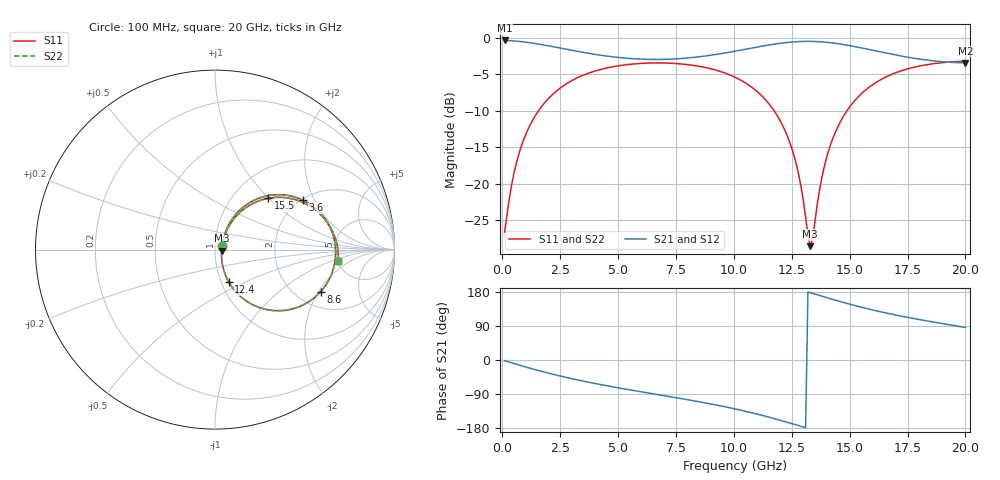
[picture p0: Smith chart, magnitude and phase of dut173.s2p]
! Touchstone file exported from HFSS 2026.1.0
!  File:  C:/ffzhzh/LocalFiles/Ansys_Project_Files/temp_train_TSV_RDL_173_1783055731_36532.aedt
!  Generated:  01:28:32 PM Jul  3, 2026
!  Design:  TSV_RDL
!  Project:  temp_train_TSV_RDL_173_1783055731_36532
! Variables:
!  h_bsmrdl = 2.24um
!  h_ox = 20um
!  h_rdl = 5um
!  h_sub = 97.19um
!  h_tmrdl = 4.52um
!  h_tsv = 97.19um
!  h_via = 3um
!  l_bsmrdl = 940.68um
!  l_sub = 4434.26um
!  l_tmrdl = 273.64um
!  m_sub = 200um
!  pitch = 56.58um
!  r_tsv = 5.79um
!  s_tmrdl = 10um
!  w_bsmrdl = 12.11um
!  w_sub = 500um
!  w_tmrdl = 27.11um
!  x_tsv_center1 = 287.195um
!  x_tsv_center2 = 1239.985um
!  x_tsv_center3 = 1540.735um
!  x_tsv_center4 = 2493.525um
!  x_tsv_center5 = 2794.275um
!  x_tsv_center6 = 3747.065um
# GHz S MA R 50.000000
! Terminal data exported
! Port[1] = TM_RDL1_1_T1
! Port[2] = TM_RDL5_1_T1
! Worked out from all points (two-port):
!   200 points, 100 MHz to 20 GHz, reference 50 ohm
!   highest |S21| = -0.36 dB at 100 MHz (marker M1); lowest = -3.4 dB at 20 GHz (marker M2)
!   |S21| within 3 dB of the highest: start of sweep to 19.38 GHz
!   lowest |S11| = -28.5 dB at 13.3 GHz (marker M3), VSWR 1.08, Z = 53.8 - j0.596 ohm
!   |S11| at or under -10 dB: start of sweep to 1.566 GHz; 11.74 GHz to 14.89 GHz (3.148 GHz wide, 23.6 % of centre)
!   |S22| runs from -28.5 to -3.2 dB; largest |S21 - S12| = 1.6e-14
!   S11 on the Smith chart (normalised r, x): 100 MHz: 1.09, +0.05; 3.6 GHz: 2.05, +1.64; 8.6 GHz: 2.66, -2.09; 12.4 GHz: 1.09, -0.41; 15.5 GHz: 1.44, +0.99; 20 GHz: 5.15, -1.21
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0.1  0.0466 27.0  0.9589 -1.9  0.9589 -1.9  0.0466 27.0
! Gamma 0 0 0 0
! Port Impedance 50 0 50 0
0.6  0.1372 60.7  0.9487 -11.1  0.9487 -11.1  0.1372 60.7
1.2  0.2525 58.3  0.9246 -21.7  0.9246 -21.7  0.2525 58.3
2.2  0.4131 46.3  0.8688 -37.8  0.8688 -37.8  0.4131 46.3
3.5  0.5549 30.3  0.7942 -55.8  0.7942 -55.8  0.5549 30.3
3.6  0.563 29.2  0.7891 -57.1  0.7891 -57.1  0.563 29.2
5.2  0.6494 12.0  0.7284 -75.5  0.7284 -75.5  0.6494 12.0
6.8  0.6728 -3.7  0.7111 -92.2  0.7111 -92.2  0.6728 -3.7
8.6  0.6335 -21.8  0.7444 -111.3  0.7444 -111.3  0.6335 -21.8
10.1  0.5325 -38.9  0.8123 -129.7  0.8123 -129.7  0.5325 -38.9
11.5  0.3557 -57.0  0.8923 -150.5  0.8923 -150.5  0.3558 -57.0
12.4  0.1949 -67.0  0.9324 -166.0  0.9324 -166.0  0.1949 -67.0
12.8  0.1157 -66.2  0.9423 -173.2  0.9423 -173.2  0.1157 -66.2
13.3  0.03737 -8.5  0.9455 177.6  0.9455 177.6  0.03738 -8.5
13.4  0.04161 20.7  0.9448 175.7  0.9448 175.7  0.04161 20.7
13.8  0.1102 57.3  0.938 168.4  0.938 168.4  0.1102 57.3
14.2  0.1896 58.7  0.9247 161.2  0.9247 161.2  0.1896 58.7
14.8  0.3014 52.9  0.8955 150.7  0.8955 150.7  0.3014 52.9
15.5  0.4127 43.9  0.8529 139.5  0.8529 139.5  0.4127 43.9
16.7  0.5514 28.8  0.7782 122.5  0.7782 122.5  0.5514 28.8
18.3  0.6531 11.3  0.7047 103.5  0.7047 103.5  0.6531 11.3
20  0.6899 -5.1  0.6732 85.9  0.6732 85.9  0.6899 -5.1
